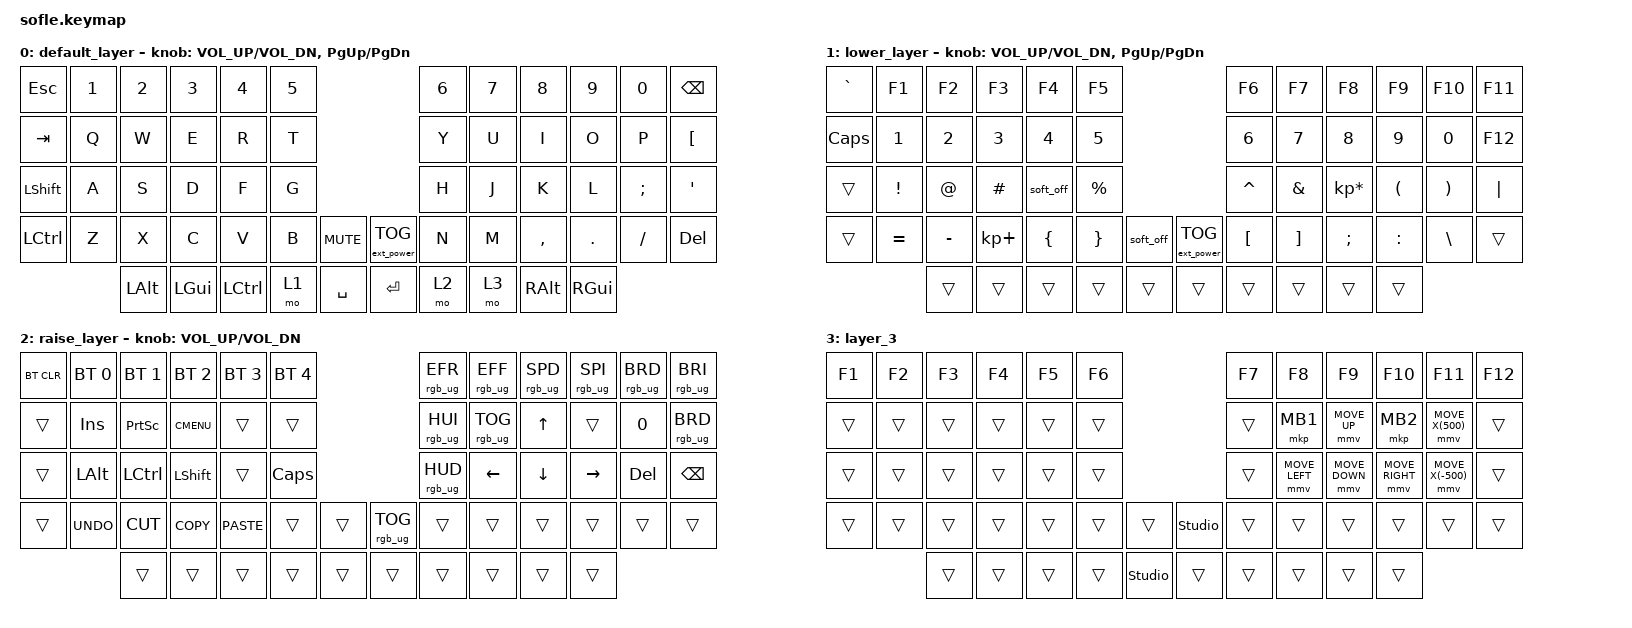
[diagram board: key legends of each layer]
/*
 * Copyright (c) 2020 The ZMK Contributors
 *
 * SPDX-License-Identifier: MIT
 */
/*
 * Temporarily here because nice nano v2 spi is not defined on ZMK Yet
 * Source: https://github.com/zmkfirmware/zmk/blob/main/app/boards/shields/reviung41/boards/nice_nano.overlay
 * GitHub Issue: https://github.com/zmkfirmware/zmk/issues/885
 */

#include <dt-bindings/led/led.h>
#include <behaviors.dtsi>
#include <dt-bindings/zmk/bt.h>
#include <dt-bindings/zmk/ext_power.h>
#include <dt-bindings/zmk/keys.h>
#include <dt-bindings/zmk/pointing.h>
#include <dt-bindings/zmk/rgb.h>

&pinctrl {
    spi3_default: spi3_default {
        group1 { psels = <NRF_PSEL(SPIM_MOSI, 0, 8)>; };
    };

    spi3_sleep: spi3_sleep {
        group1 {
            psels = <NRF_PSEL(SPIM_MOSI, 0, 8)>;
            low-power-enable;
        };
    };
};

&spi3 {
    compatible = "nordic,nrf-spim";
    status = "okay";
    pinctrl-0 = <&spi3_default>;
    pinctrl-1 = <&spi3_sleep>;
    pinctrl-names = "default", "sleep";

    led_strip: ws2812@0 {
        compatible = "worldsemi,ws2812-spi";
        label = "WS2812";

        /* SPI */

        reg = <0>; /* ignored, but necessary for SPI bindings */
        spi-max-frequency = <4000000>;

        /* WS2812 */

        chain-length = <30>;
        spi-one-frame = <0x70>;
        spi-zero-frame = <0x40>;
        color-mapping = <LED_COLOR_ID_GREEN LED_COLOR_ID_RED LED_COLOR_ID_BLUE>;
    };
};

/ {
    chosen { zmk,underglow = &led_strip; };
};

/* END temporary RGB support section */

/ {
    keymap {
        compatible = "zmk,keymap";

        default_layer {
            // ------------------------------------------------------------------------------------------------------------------
            // |  `    |  1  |  2  |  3   |  4   |  5   |                         |  6   |  7    |  8    |  9   |   0   |       |
            // |  ESC  |  Q  |  W  |  E   |  R   |  T   |                         |  Y   |  U    |  I    |  O   |   P   | BKSPC |
            // |  TAB  |  A  |  S  |  D   |  F   |  G   |                         |  H   |  J    |  K    |  L   |   ;   |   '   |
            // | SHIFT |  Z  |  X  |  C   |  V   |  B   |  MUTE  |        | ExtPw |  N   |  M    |  ,    |  .   |   /   | SHIFT |
            //               | GUI | ALT  | CTRL | LOWER|  ENTER |        | SPACE | RAISE| CTRL  | ALT   | GUI  |

            bindings = <
&kp ESCAPE        &kp N1  &kp N2        &kp N3        &kp N4     &kp N5                                   &kp N6  &kp N7  &kp N8     &kp N9    &kp N0    &kp BACKSPACE
&kp TAB           &kp Q   &kp W         &kp E         &kp R      &kp T                                    &kp Y   &kp U   &kp I      &kp O     &kp P     &kp LEFT_BRACKET
&kp LEFT_SHIFT    &kp A   &kp S         &kp D         &kp F      &kp G                                    &kp H   &kp J   &kp K      &kp L     &kp SEMI  &kp SQT
&kp LEFT_CONTROL  &kp Z   &kp X         &kp C         &kp V      &kp B   &kp C_MUTE    &ext_power EP_TOG  &kp N   &kp M   &kp COMMA  &kp DOT   &kp FSLH  &kp DELETE
                          &kp LEFT_ALT  &kp LEFT_GUI  &kp LCTRL  &mo 1   &kp SPACE     &kp ENTER          &mo 2   &mo 3   &kp RALT   &kp RGUI
            >;

            sensor-bindings = <&inc_dec_kp C_VOL_UP C_VOL_DN &inc_dec_kp PG_UP PG_DN>;
        };

        lower_layer {
            // TODO: Some binds are waiting for shifted keycode support.
            // ------------------------------------------------------------------------------------------------------------
            // |       |  F1 |  F2 |  F3  |  F4  |  F5  |                   |  F6  |  F7   |  F8   |  F9  |  F10  |  F11  |
            // | `     |   1 |   2 |   3  |   4  |   5  |                   |   6  |   7   |   8   |   9  |    0  |  F12  |
            // |       |  !  |  @  |  #   |  $   |  %   |                   |  ^   |  &    |  *    |  (   |   )   |   |   |
            // |       |  =  |  -  |  +   |  {   |  }   |        |  |       |  [   |  ]    |  ;    |  :   |   \   |       |
            //               |     |      |      |      |        |  |       |      |       |       |      |

            bindings = <
&kp GRAVE     &kp F1     &kp F2     &kp F3       &kp F4     &kp F5                                     &kp F6     &kp F7    &kp F8           &kp F9     &kp F10   &kp F11
&kp CAPSLOCK  &kp N1     &kp N2     &kp N3       &kp N4     &kp N5                                     &kp N6     &kp N7    &kp N8           &kp N9     &kp N0    &kp F12
&trans        &kp EXCL   &kp AT     &kp HASH     &soft_off  &kp PRCNT                                  &kp CARET  &kp AMPS  &kp KP_MULTIPLY  &kp LPAR   &kp RPAR  &kp PIPE
&trans        &kp EQUAL  &kp MINUS  &kp KP_PLUS  &kp LBRC   &kp RBRC   &soft_off    &ext_power EP_TOG  &kp LBKT   &kp RBKT  &kp SEMI         &kp COLON  &kp BSLH  &trans
                         &trans     &trans       &trans     &trans     &trans       &trans             &trans     &trans    &trans           &trans
            >;

            sensor-bindings = <&inc_dec_kp C_VOL_UP C_VOL_DN &inc_dec_kp PG_UP PG_DN>;
        };

        raise_layer {
            // ------------------------------------------------------------------------------------------------------------
            // |BTCLR| BT1  | BT2  |  BT3  |  BT4  |  BT5 |                 |      |      |       |      |       |       |
            // |     | INS  | PSCR | GUI   |       |      |                 | PGUP |      |   ^   |      |       |       |
            // |     | ALT  | CTRL | SHIFT |       | CAPS |                 | PGDN |   <- |   v   |  ->  |  DEL  | BKSPC |
            // |     | UNDO | CUT  | COPY  | PASTE |      |      |   | RGB  |      |      |       |      |       |       |
            //              |      |       |       |      |      |   |      |      |      |       |      |

            bindings = <
&bt BT_CLR  &bt BT_SEL 0  &bt BT_SEL 1  &bt BT_SEL 2  &bt BT_SEL 3  &bt BT_SEL 4                             &rgb_ug RGB_EFR  &rgb_ug RGB_EFF  &rgb_ug RGB_SPD  &rgb_ug RGB_SPI  &rgb_ug RGB_BRD  &rgb_ug RGB_BRI
&trans      &kp INS       &kp PSCRN     &kp K_CMENU   &trans        &trans                                   &rgb_ug RGB_HUI  &rgb_ug RGB_TOG  &kp UP           &trans           &kp N0           &rgb_ug RGB_BRD
&trans      &kp LALT      &kp LCTRL     &kp LSHFT     &trans        &kp CLCK                                 &rgb_ug RGB_HUD  &kp LEFT         &kp DOWN         &kp RIGHT        &kp DEL          &kp BSPC
&trans      &kp K_UNDO    &kp K_CUT     &kp K_COPY    &kp K_PASTE   &trans        &trans    &rgb_ug RGB_TOG  &trans           &trans           &trans           &trans           &trans           &trans
                          &trans        &trans        &trans        &trans        &trans    &trans           &trans           &trans           &trans           &trans
            >;

            sensor-bindings = <&inc_dec_kp C_VOL_UP C_VOL_DN>;
        };

        layer_3 {
            bindings = <
&kp F1  &kp F2  &kp F3  &kp F4  &kp F5  &kp F6                                    &kp F7  &kp F8          &kp F9          &kp F10          &kp F11            &kp F12
&trans  &trans  &trans  &trans  &trans  &trans                                    &trans  &mkp MB1        &mmv MOVE_UP    &mkp MB2         &mmv MOVE_X(500)   &trans
&trans  &trans  &trans  &trans  &trans  &trans                                    &trans  &mmv MOVE_LEFT  &mmv MOVE_DOWN  &mmv MOVE_RIGHT  &mmv MOVE_X(-500)  &trans
&trans  &trans  &trans  &trans  &trans  &trans  &trans            &studio_unlock  &trans  &trans          &trans          &trans           &trans             &trans
                &trans  &trans  &trans  &trans  &studio_unlock    &trans          &trans  &trans          &trans          &trans
            >;
        };
    };
};
